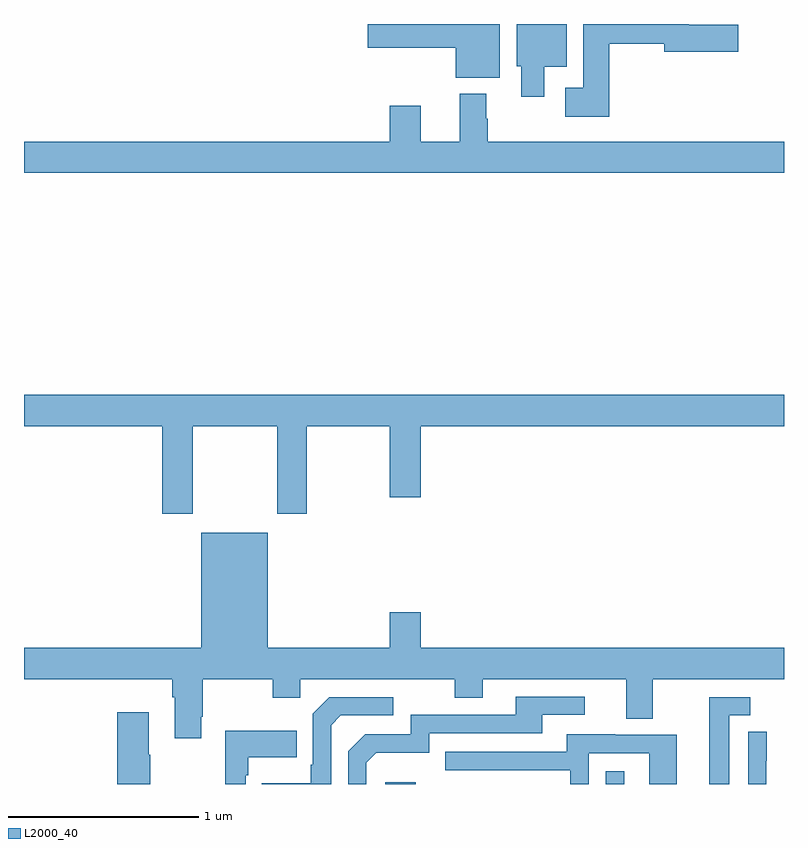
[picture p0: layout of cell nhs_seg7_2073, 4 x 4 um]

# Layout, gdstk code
import gdstk
lib = gdstk.Library(unit=1e-6, precision=1e-09)
def R(c, l, rs):  # rectangles x0, y0, x1, y1
    for r in rs: c.add(gdstk.rectangle(r[:2], r[2:], *l))
def P(c, l, *ps):  # polygons
    for p in ps: c.add(gdstk.Polygon(p, *l))
L2000_40 = (2000, 40)

nhs_seg7_2073 = lib.new_cell('nhs_seg7_2073')
R(nhs_seg7_2073, L2000_40, [(248.901,1064,249.062,1064.008), (250.062,1064,250.159,1064.068)])
P(nhs_seg7_2073, L2000_40, [(249.505,1068),(248.808,1068),(248.808,1067.875),(249.272,1067.875),(249.272,1067.717),(249.505,1067.717)],
  [(249.739,1067.774),(249.856,1067.774),(249.856,1068),(249.593,1068),(249.593,1067.778),(249.617,1067.778),(249.617,1067.616),(249.739,1067.616)],
  [(250.079,1067.896),(250.37,1067.896),(250.37,1067.854),(250.759,1067.854),(250.759,1067.996),(250.498,1067.996),(250.498,1068),(249.944,1068),(249.944,1067.665),(249.849,1067.665),(249.849,1067.513),(250.079,1067.513)],
  [(251,1067.38),(249.441,1067.38),(249.441,1067.501),(249.433,1067.501),(249.433,1067.632),(249.293,1067.632),(249.293,1067.38),(249.088,1067.38),(249.088,1067.569),(248.924,1067.569),(248.924,1067.38),(247,1067.38),(247,1067.216),(251,1067.216)],
  [(247.887,1065.884),(248.332,1065.884),(248.332,1065.423),(248.487,1065.423),(248.487,1065.884),(248.924,1065.884),(248.924,1065.51),(249.088,1065.51),(249.088,1065.884),(251,1065.884),(251,1066.048),(247,1066.048),(247,1065.884),(247.727,1065.884),(247.727,1065.423),(247.887,1065.423)],
  [(247.933,1064.353),(247.941,1064.353),(247.941,1064.552),(248.308,1064.552),(248.308,1064.453),(248.454,1064.453),(248.454,1064.552),(249.268,1064.552),(249.268,1064.453),(249.415,1064.453),(249.415,1064.552),(250.169,1064.552),(250.169,1064.344),(250.309,1064.344),(250.309,1064.552),(251,1064.552),(251,1064.716),(249.088,1064.716),(249.088,1064.905),(248.924,1064.905),(248.924,1064.716),(248.284,1064.716),(248.284,1065.322),(247.934,1065.322),(247.934,1064.716),(247,1064.716),(247,1064.552),(247.781,1064.552),(247.781,1064.456),(247.793,1064.456),(247.793,1064.241),(247.933,1064.241)],
  [(248.802,1064.112),(248.855,1064.165),(249.132,1064.165),(249.132,1064.268),(249.727,1064.268),(249.727,1064.364),(249.952,1064.364),(249.952,1064.46),(249.587,1064.46),(249.587,1064.364),(249.036,1064.364),(249.036,1064.262),(248.796,1064.262),(248.706,1064.172),(248.706,1064),(248.802,1064)],
  [(248.616,1064.31),(248.667,1064.361),(248.944,1064.361),(248.944,1064.457),(248.607,1064.457),(248.52,1064.37),(248.52,1064.101),(248.508,1064.101),(248.508,1064.005),(248.251,1064.005),(248.251,1064),(248.616,1064)],
  [(250.711,1064.361),(250.822,1064.361),(250.822,1064.457),(250.607,1064.457),(250.607,1064),(250.711,1064)],
  [(247.665,1064.153),(247.657,1064.153),(247.657,1064.377),(247.49,1064.377),(247.49,1064),(247.665,1064)],
  [(248.166,1064.045),(248.179,1064.045),(248.179,1064.141),(248.435,1064.141),(248.435,1064.281),(248.058,1064.281),(248.058,1064),(248.166,1064)],
  [(250.907,1064.122),(250.908,1064.122),(250.908,1064.276),(250.812,1064.276),(250.812,1064),(250.907,1064)],
  [(249.972,1064.163),(250.29,1064.163),(250.29,1064),(250.435,1064),(250.435,1064.259),(250.111,1064.259),(250.111,1064.263),(249.857,1064.263),(249.857,1064.169),(249.217,1064.169),(249.217,1064.073),(249.876,1064.073),(249.876,1064),(249.972,1064)])

lib.write_gds('nhs_seg7_2073.gds')
